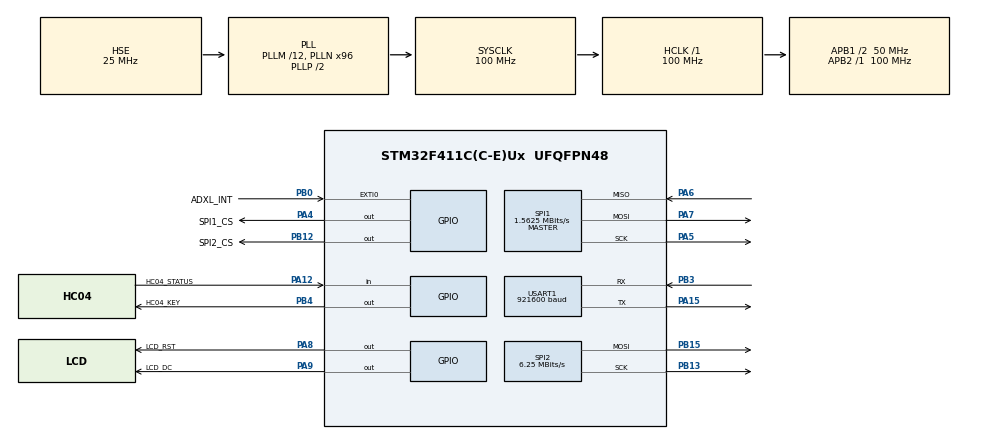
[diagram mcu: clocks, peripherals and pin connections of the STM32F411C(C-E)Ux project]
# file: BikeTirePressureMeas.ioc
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Dma.Request0=SPI1_RX
Dma.Request1=USART1_TX
Dma.Request2=SPI1_TX
Dma.SPI1_RX.0.Direction=DMA_PERIPH_TO_MEMORY
Dma.SPI1_RX.0.FIFOMode=DMA_FIFOMODE_DISABLE
Dma.SPI1_RX.0.Instance=DMA2_Stream0
Dma.SPI1_RX.0.MemDataAlignment=DMA_MDATAALIGN_BYTE
Dma.SPI1_RX.0.MemInc=DMA_MINC_ENABLE
Dma.SPI1_RX.0.Mode=DMA_NORMAL
Dma.SPI1_RX.0.PeriphDataAlignment=DMA_PDATAALIGN_BYTE
Dma.SPI1_RX.0.PeriphInc=DMA_PINC_DISABLE
Dma.SPI1_RX.0.Priority=DMA_PRIORITY_LOW
Dma.SPI1_TX.2.Direction=DMA_MEMORY_TO_PERIPH
Dma.SPI1_TX.2.FIFOMode=DMA_FIFOMODE_DISABLE
Dma.SPI1_TX.2.Instance=DMA2_Stream2
Dma.SPI1_TX.2.MemDataAlignment=DMA_MDATAALIGN_BYTE
Dma.SPI1_TX.2.MemInc=DMA_MINC_ENABLE
Dma.SPI1_TX.2.Mode=DMA_NORMAL
Dma.SPI1_TX.2.PeriphDataAlignment=DMA_PDATAALIGN_BYTE
Dma.SPI1_TX.2.PeriphInc=DMA_PINC_DISABLE
Dma.SPI1_TX.2.Priority=DMA_PRIORITY_LOW
Dma.USART1_TX.1.Direction=DMA_MEMORY_TO_PERIPH
Dma.USART1_TX.1.FIFOMode=DMA_FIFOMODE_DISABLE
Dma.USART1_TX.1.Instance=DMA2_Stream7
Dma.USART1_TX.1.MemDataAlignment=DMA_MDATAALIGN_BYTE
Dma.USART1_TX.1.MemInc=DMA_MINC_ENABLE
Dma.USART1_TX.1.Mode=DMA_NORMAL
Dma.USART1_TX.1.PeriphDataAlignment=DMA_PDATAALIGN_BYTE
Dma.USART1_TX.1.PeriphInc=DMA_PINC_DISABLE
Dma.USART1_TX.1.Priority=DMA_PRIORITY_LOW
Mcu.Family=STM32F4
Mcu.Name=STM32F411C(C-E)Ux
Mcu.Package=UFQFPN48
NVIC.DMA2_Stream0_IRQn=true\:1\:0\:true\:false\:true\:false\:true\:true
NVIC.DMA2_Stream2_IRQn=true\:1\:0\:true\:false\:true\:false\:true\:true
NVIC.DMA2_Stream7_IRQn=true\:1\:0\:true\:false\:true\:false\:true\:true
NVIC.PriorityGroup=NVIC_PRIORITYGROUP_4
NVIC.SPI1_IRQn=true\:1\:0\:true\:false\:true\:true\:true\:true
NVIC.TIM2_IRQn=true\:0\:0\:false\:false\:true\:true\:true\:true
NVIC.USART1_IRQn=true\:1\:0\:true\:false\:true\:true\:true\:true
PA10.Signal=S_TIM1_CH3
PA12.GPIO_Label=HC04_STATUS
PA12.Signal=GPIO_Input
PA13.Mode=Serial_Wire
PA13.Signal=SYS_JTMS-SWDIO
PA14.Mode=Serial_Wire
PA14.Signal=SYS_JTCK-SWCLK
PA15.Mode=Asynchronous
PA15.Signal=USART1_TX
PA4.GPIO_Label=SPI1_CS
PA4.Signal=GPIO_Output
PA5.Mode=Full_Duplex_Master
PA5.Signal=SPI1_SCK
PA6.Mode=Full_Duplex_Master
PA6.Signal=SPI1_MISO
PA7.Mode=Full_Duplex_Master
PA7.Signal=SPI1_MOSI
PA8.GPIO_Label=LCD_RST
PA8.Signal=GPIO_Output
PA9.GPIO_Label=LCD_DC
PA9.Signal=GPIO_Output
PB0.GPIO_Label=ADXL_INT
PB0.Signal=GPXTI0
PB12.GPIO_Label=SPI2_CS
PB12.Signal=GPIO_Output
PB13.Mode=TX_Only_Simplex_Unidirect_Master
PB13.Signal=SPI2_SCK
PB15.Mode=TX_Only_Simplex_Unidirect_Master
PB15.Signal=SPI2_MOSI
PB3.Mode=Asynchronous
PB3.Signal=USART1_RX
PB4.GPIO_Label=HC04_KEY
PB4.Signal=GPIO_Output
PH0\ -\ OSC_IN.Mode=HSE-External-Oscillator
PH0\ -\ OSC_IN.Signal=RCC_OSC_IN
PH1\ -\ OSC_OUT.Mode=HSE-External-Oscillator
PH1\ -\ OSC_OUT.Signal=RCC_OSC_OUT
ProjectManager.HeapSize=0x200
ProjectManager.StackSize=0x2000
ProjectManager.TargetToolchain=CMake
RCC.48MHZClocksFreq_Value=50000000
RCC.AHBFreq_Value=100000000
RCC.APB1CLKDivider=RCC_HCLK_DIV2
RCC.APB1Freq_Value=50000000
RCC.APB1TimFreq_Value=100000000
RCC.APB2Freq_Value=100000000
RCC.APB2TimFreq_Value=100000000
RCC.CortexFreq_Value=100000000
RCC.HCLKFreq_Value=100000000
RCC.HSE_VALUE=25000000
RCC.HSI_VALUE=16000000
RCC.LSE_VALUE=32768
RCC.PLLM=12
RCC.PLLN=96
RCC.PLLSourceVirtual=RCC_PLLSOURCE_HSE
RCC.SYSCLKFreq_VALUE=100000000
RCC.SYSCLKSource=RCC_SYSCLKSOURCE_PLLCLK
RCC.VCOOutputFreq_Value=200000000
SH.S_TIM1_CH3.0=TIM1_CH3
SPI1.BaudRatePrescaler=SPI_BAUDRATEPRESCALER_64
SPI1.CLKPhase=SPI_PHASE_2EDGE
SPI1.CLKPolarity=SPI_POLARITY_HIGH
SPI1.CalculateBaudRate=1.5625 MBits/s
SPI1.Direction=SPI_DIRECTION_2LINES
SPI1.Mode=SPI_MODE_MASTER
SPI1.VirtualType=VM_MASTER
SPI2.BaudRatePrescaler=SPI_BAUDRATEPRESCALER_8
SPI2.CalculateBaudRate=6.25 MBits/s
SPI2.Direction=SPI_DIRECTION_2LINES
SPI2.Mode=SPI_MODE_MASTER
SPI2.VirtualType=VM_MASTER
TIM1.AutoReloadPreload=TIM_AUTORELOAD_PRELOAD_ENABLE
TIM1.Channel-PWM\ Generation3\ No\ Output=TIM_CHANNEL_3
TIM1.Period=999
TIM1.Prescaler=415
TIM2.AutoReloadPreload=TIM_AUTORELOAD_PRELOAD_ENABLE
TIM2.Channel-Output\ Compare1\ No\ Output=TIM_CHANNEL_1
TIM2.Period=2999
TIM2.Prescaler=999
TIM2.TIM_MasterOutputTrigger=TIM_TRGO_UPDATE
USART1.BaudRate=921600
USART1.VirtualMode=VM_ASYNC
VP_TIM1_VS_no_output3.Mode=PWM Generation3 No Output
VP_TIM2_VS_ClockSourceINT.Mode=Internal
VP_TIM2_VS_no_output1.Mode=Output Compare1 No Output
board=custom

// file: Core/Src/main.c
/* USER CODE BEGIN Header */
/**
 ******************************************************************************
 * @file           : main.c
 * @brief          : Main program body
 ******************************************************************************
 * @attention
 *
 * Copyright (c) 2026 STMicroelectronics.
 * All rights reserved.
 *
 * This software is licensed under terms that can be found in the LICENSE file
 * in the root directory of this software component.
 * If no LICENSE file comes with this software, it is provided AS-IS.
 *
 ******************************************************************************
 */
/* USER CODE END Header */
#include "main.h"
#include "dma.h"
#include "spi.h"
#include "tim.h"
#include "usart.h"
#include "gpio.h"

/* USER CODE BEGIN Includes */
#include "ADXL.h"
#include "fft.h"
#include "logger.h"
#include "stdbool.h"

/* USER CODE END Includes */

void SystemClock_Config(void);

int main(void)
{

  /* MCU Configuration--------------------------------------------------------*/

  /* Reset of all peripherals, Initializes the Flash interface and the Systick. */
  HAL_Init();

  /* Configure the system clock */
  SystemClock_Config();

  /* Initialize all configured peripherals */
  MX_GPIO_Init();
  MX_DMA_Init();
  MX_SPI1_Init();
  MX_SPI2_Init();
  MX_TIM1_Init();
  MX_USART1_UART_Init();
  MX_TIM2_Init();

  /* Infinite loop */
  /* USER CODE BEGIN WHILE */
  const fft_config_t config = {.freq_sampling = 800, .guard = 3, .min_bin = 3, .min_peak = 0.05f};
  fft_init(&config);

  const adxl_config_t adxl_config = {.range = ADXL_RANGE_16G,
                                     .resolution = ADXL_RESOLUTION_13BIT,
                                     .rate = ADXL_RATE_800,
                                     .spi_mode = ADXL_SPI_4WIRE,
                                     .spi_cs_port = SPI1_CS_GPIO_Port,
                                     .spi_cs_pin = SPI1_CS_Pin,
                                     .hspi = &hspi1,
                                     .htim = &htim2};

  if (adxl_init(&adxl_config) != ADXL_OK)
  {
    Error_Handler();
  }

  if (adxl_enable() != ADXL_OK)
  {
    Error_Handler();
  }

  fft_pkt_t pkt;

  while (1)
  {
    if (!logger_is_busy()) {
      uint8_t *frame = adxl_acquire_frame();
      if (frame != NULL) {
        fft_process_frame(frame, &pkt);
        logger_log_serial((uint8_t*)&pkt, sizeof(fft_pkt_t));
      }
    }

    HAL_Delay(1);

    /* USER CODE END WHILE */

  }
}

void SystemClock_Config(void)
{
  RCC_OscInitTypeDef RCC_OscInitStruct = {0};
  RCC_ClkInitTypeDef RCC_ClkInitStruct = {0};

  /** Configure the main internal regulator output voltage
   */
  __HAL_RCC_PWR_CLK_ENABLE();
  __HAL_PWR_VOLTAGESCALING_CONFIG(PWR_REGULATOR_VOLTAGE_SCALE1);

  /** Initializes the RCC Oscillators according to the specified parameters
   * in the RCC_OscInitTypeDef structure.
   */
  RCC_OscInitStruct.OscillatorType = RCC_OSCILLATORTYPE_HSE;
  RCC_OscInitStruct.HSEState = RCC_HSE_ON;
  RCC_OscInitStruct.PLL.PLLState = RCC_PLL_ON;
  RCC_OscInitStruct.PLL.PLLSource = RCC_PLLSOURCE_HSE;
  RCC_OscInitStruct.PLL.PLLM = 12;
  RCC_OscInitStruct.PLL.PLLN = 96;
  RCC_OscInitStruct.PLL.PLLP = RCC_PLLP_DIV2;
  RCC_OscInitStruct.PLL.PLLQ = 4;
  if (HAL_RCC_OscConfig(&RCC_OscInitStruct) != HAL_OK)
  {
    Error_Handler();
  }

  /** Initializes the CPU, AHB and APB buses clocks
   */
  RCC_ClkInitStruct.ClockType = RCC_CLOCKTYPE_HCLK | RCC_CLOCKTYPE_SYSCLK | RCC_CLOCKTYPE_PCLK1 | RCC_CLOCKTYPE_PCLK2;
  RCC_ClkInitStruct.SYSCLKSource = RCC_SYSCLKSOURCE_PLLCLK;
  RCC_ClkInitStruct.AHBCLKDivider = RCC_SYSCLK_DIV1;
  RCC_ClkInitStruct.APB1CLKDivider = RCC_HCLK_DIV2;
  RCC_ClkInitStruct.APB2CLKDivider = RCC_HCLK_DIV1;

  if (HAL_RCC_ClockConfig(&RCC_ClkInitStruct, FLASH_LATENCY_3) != HAL_OK)
  {
    Error_Handler();
  }
}

void Error_Handler(void)
{
  __disable_irq();
  while (1)
  {
  }
}
#ifdef USE_FULL_ASSERT
/**
 * @brief  Reports the name of the source file and the source line number
 *         where the assert_param error has occurred.
 * @param  file: pointer to the source file name
 * @param  line: assert_param error line source number
 * @retval None
 */
void assert_failed(uint8_t *file, uint32_t line)
{
  /* USER CODE BEGIN 6 */
  /* User can add his own implementation to report the file name and line
     number, ex: printf("Wrong parameters value: file %s on line %d\r\n", file,
     line) */
  /* USER CODE END 6 */
}
#endif /* USE_FULL_ASSERT */
